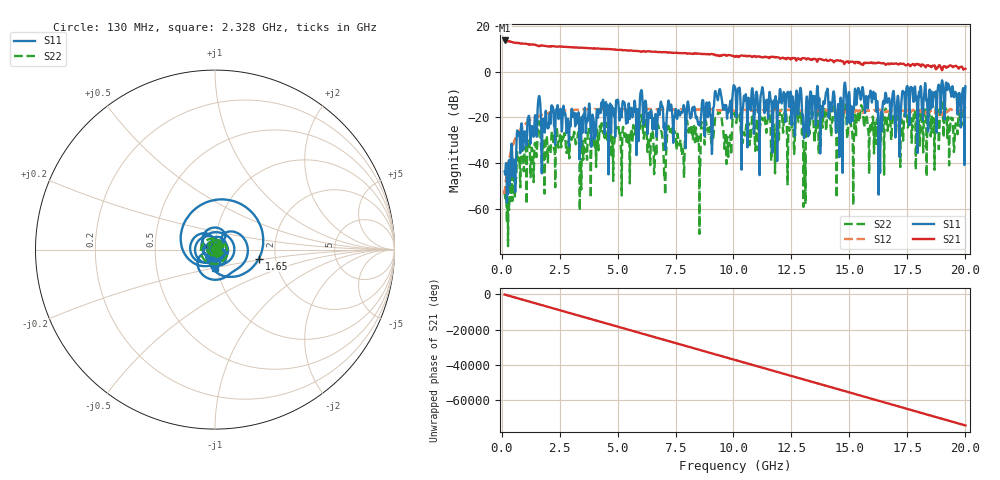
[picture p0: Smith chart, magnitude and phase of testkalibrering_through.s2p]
!Created with skrf (http://scikit-rf.org).
# GHz S RI R 50.0
!freq ReS11 ImS11 ReS21 ImS21 ReS12 ImS12 ReS22 ImS22
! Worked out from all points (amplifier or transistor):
!   20013 points, 130 MHz to 20 GHz, reference 50 ohm
!   highest |S21| = 13.6 dB at 130 MHz (marker M1)
!   |S21| within 3 dB of that: start of sweep to 3.041 GHz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
!   unconditionally stable (mu >= 1): start of sweep to end of sweep
!   at 3.465 GHz: K = 1.25, MAG = 10.4 dB, |S12| = -16.6 dB
!   at 10.14 GHz: K = 1.76, MAG = 6.8 dB, |S12| = -17.0 dB
!   at 20 GHz: K = 2.67, MAG = 2.4 dB, |S12| = -17.8 dB
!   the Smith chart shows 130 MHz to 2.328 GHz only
!   S11 on the Smith chart (normalised r, x): 130 MHz: 0.99, +0.01; 1.65 GHz: 1.64, -0.18; 2.328 GHz: 0.98, -0.20
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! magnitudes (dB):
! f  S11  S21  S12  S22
! 130 MHz  -43.6  13.6  -53.5  -53.1
! 647 MHz  -29.6  12.4  -28.2  -41.5
! 1.65 GHz  -12.0  11.2  -19.3  -24.0
! 2.328 GHz  -19.9  10.9  -17.4  -35.5
! 3.442 GHz  -22.9  10.4  -16.6  -43.6
! 4.307 GHz  -13.6  9.8  -16.5  -22.9
! 6.754 GHz  -16.5  8.4  -16.6  -23.5
! 7.034 GHz  -25.9  8.5  -16.5  -45.3
! 7.238 GHz  -16.0  8.4  -16.5  -26.7
! 8.496 GHz  -23.2  7.8  -16.6  -29.0
! 9.39 GHz  -8.0  6.7  -17.1  -17.4
! 9.793 GHz  -17.1  7.2  -16.7  -31.5
! 10.06 GHz  -6.7  6.5  -17.3  -18.2
! 11.71 GHz  -19.3  6.4  -16.6  -27.1
! 12.8 GHz  -17.3  5.7  -17.0  -22.0
! 13.03 GHz  -28.5  5.9  -16.6  -34.2
! 13.38 GHz  -15.2  5.3  -16.7  -20.2
! 15.97 GHz  -13.4  4.0  -16.9  -24.1
! 16.32 GHz  -41.5  3.8  -16.7  -28.2
! 16.69 GHz  -12.0  3.5  -17.3  -20.6
! 19.55 GHz  -9.1  2.4  -16.8  -25.4
! 20 GHz  -6.5  1.2  -17.8  -15.9
